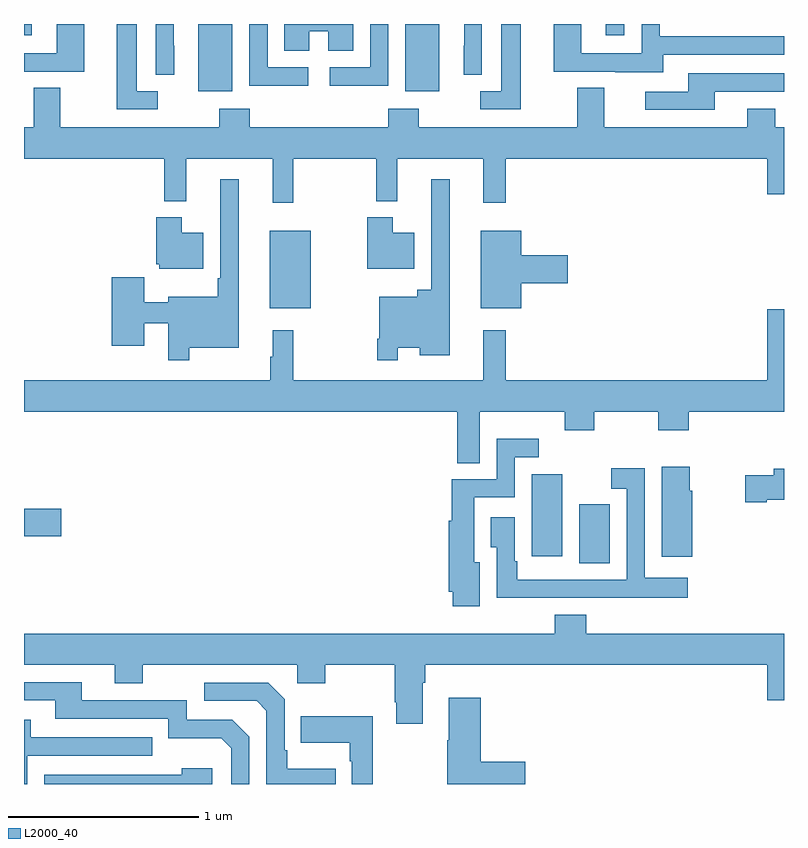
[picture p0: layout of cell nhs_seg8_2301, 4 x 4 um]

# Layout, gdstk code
import gdstk
lib = gdstk.Library(unit=1e-6, precision=1e-09)
def R(c, l, rs):  # rectangles x0, y0, x1, y1
    for r in rs: c.add(gdstk.rectangle(r[:2], r[2:], *l))
def P(c, l, *ps):  # polygons
    for p in ps: c.add(gdstk.Polygon(p, *l))
L2000_40 = (2000, 40)

nhs_seg8_2301 = lib.new_cell('nhs_seg8_2301')
R(nhs_seg8_2301, L2000_40, [(259.922,1089.061,260.083,1089.372), (259.673,1089.098,259.834,1089.529), (257,1089.203,257.197,1089.35), (258.293,1090.403,258.508,1090.813), (257.918,1091.546,258.097,1091.9), (259.007,1091.546,259.186,1091.9), (257,1091.841,257.041,1091.9), (260.063,1091.841,260.16,1091.9)])
P(nhs_seg8_2301, L2000_40, [(257.704,1091.547),(257.593,1091.547),(257.593,1091.9),(257.489,1091.9),(257.489,1091.451),(257.704,1091.451)],
  [(258.502,1091.861),(258.602,1091.861),(258.602,1091.758),(258.733,1091.758),(258.733,1091.9),(258.371,1091.9),(258.371,1091.758),(258.502,1091.758)],
  [(257.317,1091.9),(257.172,1091.9),(257.172,1091.745),(257,1091.745),(257,1091.649),(257.317,1091.649)],
  [(259.615,1091.9),(259.511,1091.9),(259.511,1091.547),(259.401,1091.547),(259.401,1091.451),(259.615,1091.451)],
  [(258.496,1091.673),(258.282,1091.673),(258.282,1091.9),(258.186,1091.9),(258.186,1091.575),(258.496,1091.575)],
  [(257.79,1091.786),(257.789,1091.786),(257.789,1091.9),(257.694,1091.9),(257.694,1091.632),(257.79,1091.632)],
  [(260.365,1091.739),(261,1091.739),(261,1091.835),(260.346,1091.835),(260.346,1091.9),(260.25,1091.9),(260.25,1091.745),(259.932,1091.745),(259.932,1091.9),(259.787,1091.9),(259.787,1091.649),(260.111,1091.649),(260.111,1091.645),(260.365,1091.645)],
  [(259.41,1091.9),(259.316,1091.9),(259.316,1091.786),(259.314,1091.786),(259.314,1091.632),(259.41,1091.632)],
  [(258.918,1091.9),(258.822,1091.9),(258.822,1091.673),(258.609,1091.673),(258.609,1091.575),(258.918,1091.575)],
  [(260.635,1091.544),(261,1091.544),(261,1091.64),(260.495,1091.64),(260.495,1091.544),(260.271,1091.544),(260.271,1091.448),(260.635,1091.448)],
  [(258.418,1091.192),(258.855,1091.192),(258.855,1090.967),(258.965,1090.967),(258.965,1091.192),(259.418,1091.192),(259.418,1090.959),(259.535,1090.959),(259.535,1091.192),(260.912,1091.192),(260.912,1091.004),(261,1091.004),(261,1091.356),(260.955,1091.356),(260.955,1091.455),(260.807,1091.455),(260.807,1091.356),(260.053,1091.356),(260.053,1091.564),(259.913,1091.564),(259.913,1091.356),(259.077,1091.356),(259.077,1091.455),(258.916,1091.455),(258.916,1091.356),(258.188,1091.356),(258.188,1091.455),(258.028,1091.455),(258.028,1091.356),(257.191,1091.356),(257.191,1091.564),(257.051,1091.564),(257.051,1091.356),(257,1091.356),(257,1091.192),(257.737,1091.192),(257.737,1090.967),(257.855,1090.967),(257.855,1091.192),(258.308,1091.192),(258.308,1090.959),(258.418,1090.959)],
  [(257.869,1090.196),(258.13,1090.196),(258.13,1091.083),(258.033,1091.083),(258.033,1090.561),(258.021,1090.561),(258.021,1090.465),(257.759,1090.465),(257.759,1090.435),(257.632,1090.435),(257.632,1090.567),(257.462,1090.567),(257.462,1090.206),(257.632,1090.206),(257.632,1090.326),(257.76,1090.326),(257.76,1090.131),(257.869,1090.131)],
  [(258.966,1090.196),(259.082,1090.196),(259.082,1090.157),(259.24,1090.157),(259.24,1091.083),(259.143,1091.083),(259.143,1090.501),(259.07,1090.501),(259.07,1090.465),(258.87,1090.465),(258.87,1090.243),(258.858,1090.243),(258.858,1090.131),(258.966,1090.131)],
  [(257.944,1090.801),(257.83,1090.801),(257.83,1090.882),(257.696,1090.882),(257.696,1090.635),(257.712,1090.635),(257.712,1090.613),(257.944,1090.613)],
  [(259.054,1090.801),(258.94,1090.801),(258.94,1090.882),(258.806,1090.882),(258.806,1090.613),(259.054,1090.613)],
  [(259.618,1090.535),(259.861,1090.535),(259.861,1090.682),(259.618,1090.682),(259.618,1090.813),(259.403,1090.813),(259.403,1090.403),(259.618,1090.403)],
  [(259.399,1089.86),(259.846,1089.86),(259.846,1089.761),(260.001,1089.761),(260.001,1089.86),(260.338,1089.86),(260.338,1089.761),(260.498,1089.761),(260.498,1089.86),(261,1089.86),(261,1090.399),(260.912,1090.399),(260.912,1090.024),(259.535,1090.024),(259.535,1090.288),(259.418,1090.288),(259.418,1090.024),(258.418,1090.024),(258.418,1090.288),(258.308,1090.288),(258.308,1090.148),(258.297,1090.148),(258.297,1090.024),(257,1090.024),(257,1089.86),(259.281,1089.86),(259.281,1089.589),(259.399,1089.589)],
  [(259.399,1089.067),(259.369,1089.067),(259.369,1089.408),(259.584,1089.408),(259.584,1089.621),(259.708,1089.621),(259.708,1089.718),(259.488,1089.718),(259.488,1089.504),(259.251,1089.504),(259.251,1089.285),(259.235,1089.285),(259.235,1088.913),(259.256,1088.913),(259.256,1088.835),(259.399,1088.835)],
  [(260.518,1089.444),(260.503,1089.444),(260.503,1089.571),(260.357,1089.571),(260.357,1089.096),(260.518,1089.096)],
  [(259.709,1088.88),(260.075,1088.88),(260.075,1088.879),(260.494,1088.879),(260.494,1088.986),(260.268,1088.986),(260.268,1089.562),(260.091,1089.562),(260.091,1089.453),(260.172,1089.453),(260.172,1088.976),(259.596,1088.976),(259.596,1089.073),(259.584,1089.073),(259.584,1089.304),(259.457,1089.304),(259.457,1089.145),(259.488,1089.145),(259.488,1088.879),(259.709,1088.879)],
  [(260.908,1089.395),(261,1089.395),(261,1089.559),(260.945,1089.559),(260.945,1089.525),(260.796,1089.525),(260.796,1089.383),(260.908,1089.383)],
  [(260.912,1088.34),(261,1088.34),(261,1088.692),(259.958,1088.692),(259.958,1088.791),(259.793,1088.791),(259.793,1088.692),(257,1088.692),(257,1088.528),(257.477,1088.528),(257.477,1088.429),(257.625,1088.429),(257.625,1088.528),(258.438,1088.528),(258.438,1088.429),(258.585,1088.429),(258.585,1088.528),(258.952,1088.528),(258.952,1088.329),(258.959,1088.329),(258.959,1088.217),(259.099,1088.217),(259.099,1088.432),(259.112,1088.432),(259.112,1088.528),(260.912,1088.528)],
  [(258.186,1088.148),(258.096,1088.238),(257.856,1088.238),(257.856,1088.34),(257.305,1088.34),(257.305,1088.436),(257,1088.436),(257,1088.34),(257.165,1088.34),(257.165,1088.244),(257.76,1088.244),(257.76,1088.141),(258.037,1088.141),(258.09,1088.088),(258.09,1087.9),(258.186,1087.9)],
  [(258.641,1087.981),(258.385,1087.981),(258.385,1088.077),(258.372,1088.077),(258.372,1088.346),(258.285,1088.433),(257.949,1088.433),(257.949,1088.337),(258.225,1088.337),(258.276,1088.286),(258.276,1087.9),(258.641,1087.9)],
  [(259.639,1088.018),(259.403,1088.018),(259.403,1088.353),(259.235,1088.353),(259.235,1088.129),(259.228,1088.129),(259.228,1087.9),(259.639,1087.9)],
  [(258.835,1088.257),(258.457,1088.257),(258.457,1088.117),(258.714,1088.117),(258.714,1088.021),(258.726,1088.021),(258.726,1087.9),(258.835,1087.9)],
  [(257.016,1088.049),(257.675,1088.049),(257.675,1088.145),(257.035,1088.145),(257.035,1088.239),(257,1088.239),(257,1087.9),(257.016,1087.9)],
  [(257.992,1087.984),(257.831,1087.984),(257.831,1087.95),(257.106,1087.95),(257.106,1087.9),(257.992,1087.9)])

lib.write_gds('nhs_seg8_2301.gds')
